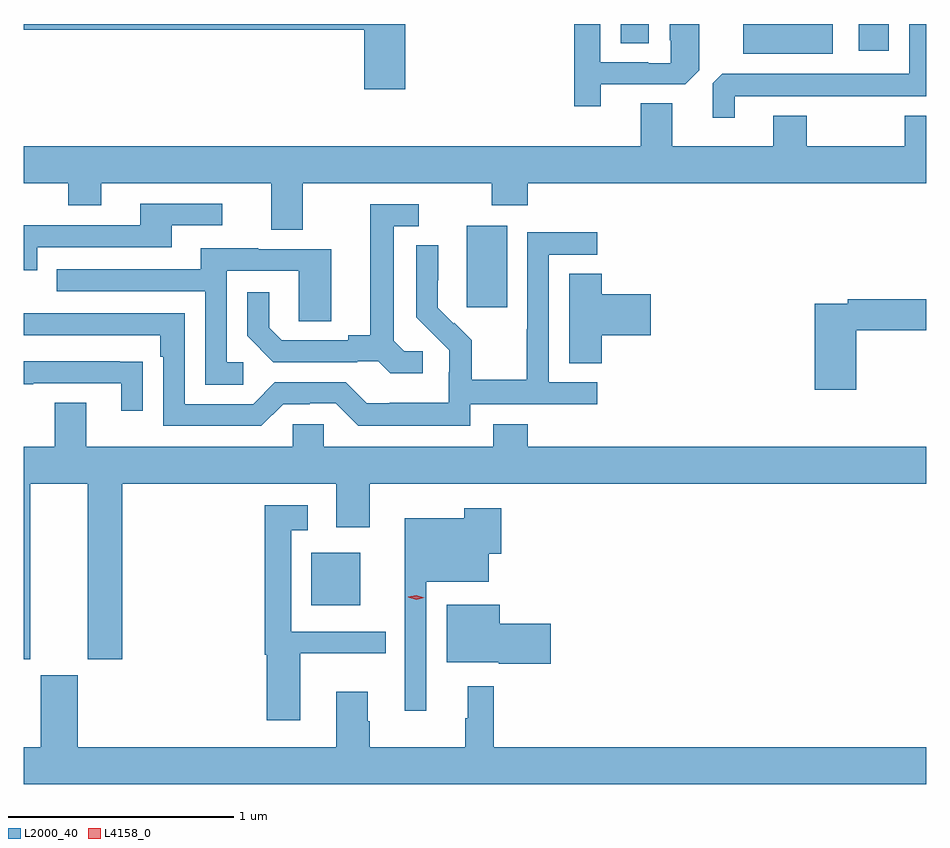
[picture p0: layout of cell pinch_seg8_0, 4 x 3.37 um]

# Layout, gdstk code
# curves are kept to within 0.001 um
import gdstk
lib = gdstk.Library(unit=1e-6, precision=1e-09)
def R(c, l, rs):  # rectangles x0, y0, x1, y1
    for r in rs: c.add(gdstk.rectangle(r[:2], r[2:], *l))
def P(c, l, *ps):  # polygons
    for p in ps: c.add(gdstk.Polygon(p, *l))
L2000_40 = (2000, 40)
L4158_0 = (4158, 0)

pinch_seg8_0 = lib.new_cell('pinch_seg8_0')
R(pinch_seg8_0, L2000_40, [(869.06,1089.32,869.278,1089.553), (869.75,1090.641,869.929,1091.002), (870.975,1091.765,871.372,1091.897), (871.487,1091.778,871.621,1091.897), (870.431,1091.812,870.556,1091.897)])
P(pinch_seg8_0, L2000_40, [(870.343,1091.631),(870.717,1091.631),(870.779,1091.693),(870.779,1091.8),(870.781,1091.8),(870.781,1091.897),(870.65,1091.897),(870.65,1091.824),(870.654,1091.824),(870.654,1091.724),(870.554,1091.724),(870.554,1091.727),(870.342,1091.727),(870.342,1091.897),(870.226,1091.897),(870.226,1091.532),(870.343,1091.532)],
  [(870.937,1091.576),(871.786,1091.576),(871.786,1091.897),(871.71,1091.897),(871.71,1091.677),(870.883,1091.677),(870.841,1091.635),(870.841,1091.481),(870.937,1091.481)],
  [(869.477,1091.897),(867.786,1091.897),(867.786,1091.872),(869.294,1091.872),(869.294,1091.607),(869.477,1091.607)],
  [(869.023,1091.192),(869.86,1091.192),(869.86,1091.093),(870.02,1091.093),(870.02,1091.192),(871.786,1091.192),(871.786,1091.491),(871.69,1091.491),(871.69,1091.356),(871.257,1091.356),(871.257,1091.491),(871.109,1091.491),(871.109,1091.356),(870.661,1091.356),(870.661,1091.546),(870.521,1091.546),(870.521,1091.356),(867.786,1091.356),(867.786,1091.192),(867.982,1091.192),(867.982,1091.093),(868.129,1091.093),(868.129,1091.192),(868.883,1091.192),(868.883,1090.984),(869.023,1090.984)],
  [(867.846,1090.908),(868.441,1090.908),(868.441,1091.004),(868.666,1091.004),(868.666,1091.1),(868.301,1091.1),(868.301,1091.004),(867.786,1091.004),(867.786,1090.805),(867.846,1090.805)],
  [(869.554,1090.446),(869.472,1090.446),(869.425,1090.493),(869.425,1091.001),(869.536,1091.001),(869.536,1091.097),(869.321,1091.097),(869.321,1090.517),(869.225,1090.517),(869.225,1090.494),(868.93,1090.494),(868.873,1090.551),(868.873,1090.708),(868.776,1090.708),(868.776,1090.514),(868.892,1090.398),(869.264,1090.398),(869.264,1090.401),(869.358,1090.401),(869.41,1090.349),(869.554,1090.349)],
  [(869.766,1090.212),(870.328,1090.212),(870.328,1090.308),(870.114,1090.308),(870.114,1090.875),(870.328,1090.875),(870.328,1090.974),(870.018,1090.974),(870.018,1090.544),(870.016,1090.544),(870.016,1090.321),(869.771,1090.321),(869.771,1090.495),(869.694,1090.572),(869.691,1090.569),(869.621,1090.64),(869.622,1090.916),(869.526,1090.916),(869.526,1090.598),(869.672,1090.45),(869.672,1090.353),(869.67,1090.353),(869.67,1090.219),(869.407,1090.219),(869.407,1090.215),(869.307,1090.215),(869.214,1090.308),(868.899,1090.308),(868.803,1090.212),(868.5,1090.212),(868.5,1090.614),(867.786,1090.614),(867.786,1090.518),(868.391,1090.518),(868.391,1090.421),(868.404,1090.421),(868.404,1090.116),(868.839,1090.116),(868.935,1090.212),(869.054,1090.212),(869.054,1090.215),(869.169,1090.215),(869.269,1090.115),(869.766,1090.115)],
  [(868.759,1090.398),(868.686,1090.398),(868.686,1090.803),(869.004,1090.803),(869.004,1090.579),(869.149,1090.579),(869.149,1090.899),(868.825,1090.899),(868.825,1090.903),(868.571,1090.903),(868.571,1090.809),(867.931,1090.809),(867.931,1090.713),(868.59,1090.713),(868.59,1090.297),(868.759,1090.297)],
  [(870.347,1090.517),(870.565,1090.517),(870.565,1090.7),(870.347,1090.7),(870.347,1090.79),(870.203,1090.79),(870.203,1090.393),(870.347,1090.393)],
  [(871.475,1090.54),(871.786,1090.54),(871.786,1090.676),(871.438,1090.676),(871.438,1090.656),(871.292,1090.656),(871.292,1090.275),(871.475,1090.275)],
  [(868.313,1090.4),(868.211,1090.4),(868.211,1090.401),(867.786,1090.401),(867.786,1090.3),(867.827,1090.3),(867.827,1090.305),(868.217,1090.305),(868.217,1090.182),(868.313,1090.182)],
  [(867.786,1089.081),(867.814,1089.081),(867.814,1089.86),(868.07,1089.86),(868.07,1089.081),(868.223,1089.081),(868.223,1089.86),(869.171,1089.86),(869.171,1089.666),(869.32,1089.666),(869.32,1089.86),(871.786,1089.86),(871.786,1090.024),(870.02,1090.024),(870.02,1090.123),(869.867,1090.123),(869.867,1090.024),(869.115,1090.024),(869.115,1090.122),(868.977,1090.122),(868.977,1090.024),(868.063,1090.024),(868.063,1090.219),(867.923,1090.219),(867.923,1090.024),(867.786,1090.024)],
  [(869.011,1089.107),(869.39,1089.107),(869.39,1089.204),(868.971,1089.204),(868.971,1089.653),(869.044,1089.653),(869.044,1089.763),(868.855,1089.763),(868.855,1089.101),(868.862,1089.101),(868.862,1088.811),(869.011,1088.811)],
  [(869.571,1089.425),(869.848,1089.425),(869.848,1089.548),(869.903,1089.548),(869.903,1089.751),(869.739,1089.751),(869.739,1089.706),(869.474,1089.706),(869.474,1089.329),(869.475,1089.329),(869.475,1088.853),(869.571,1088.853)],
  [(870.121,1089.239),(869.896,1089.239),(869.896,1089.322),(869.66,1089.322),(869.66,1089.068),(869.892,1089.068),(869.892,1089.061),(870.121,1089.061)],
  [(871.786,1088.692),(869.87,1088.692),(869.87,1088.962),(869.753,1088.962),(869.753,1088.819),(869.742,1088.819),(869.742,1088.692),(869.319,1088.692),(869.319,1088.807),(869.311,1088.807),(869.311,1088.938),(869.171,1088.938),(869.171,1088.692),(868.024,1088.692),(868.024,1089.009),(867.86,1089.009),(867.86,1088.692),(867.786,1088.692),(867.786,1088.528),(871.786,1088.528)])
P(pinch_seg8_0, L4158_0, [(869.525,1089.345),(869.489,1089.356),(869.489,1089.357),(869.489,1089.357),(869.526,1089.365),(869.561,1089.354),(869.561,1089.353),(869.561,1089.353)])

lib.write_gds('pinch_seg8_0.gds')
